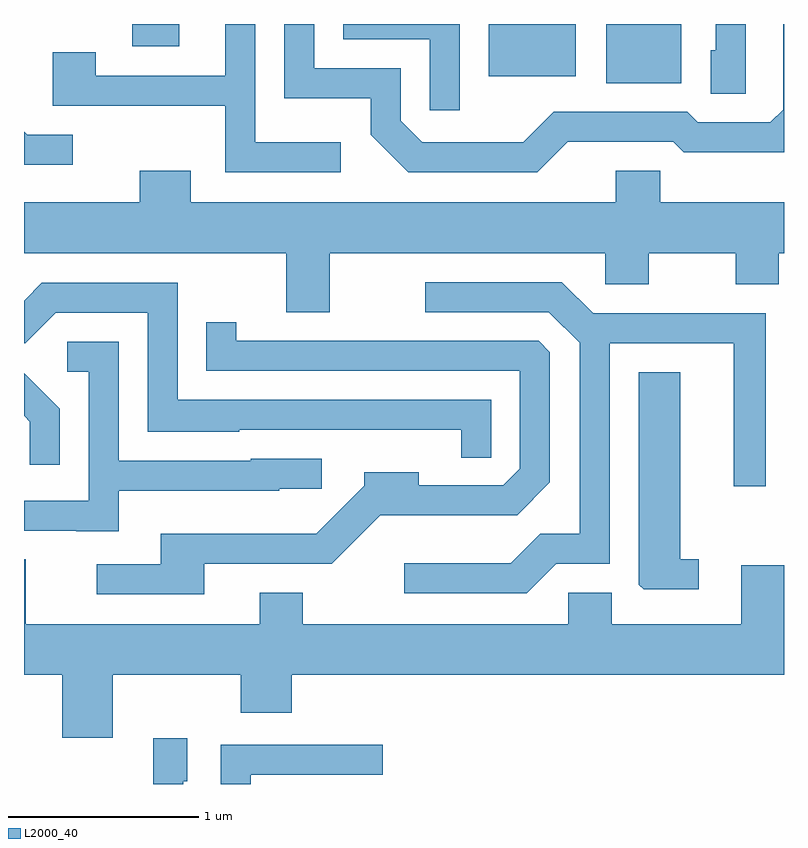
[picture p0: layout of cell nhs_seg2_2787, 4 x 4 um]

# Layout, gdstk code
import gdstk
lib = gdstk.Library(unit=1e-6, precision=1e-09)
def R(c, l, rs):  # rectangles x0, y0, x1, y1
    for r in rs: c.add(gdstk.rectangle(r[:2], r[2:], *l))
def P(c, l, *ps):  # polygons
    for p in ps: c.add(gdstk.Polygon(p, *l))
L2000_40 = (2000, 40)

nhs_seg2_2787 = lib.new_cell('nhs_seg2_2787')
R(nhs_seg2_2787, L2000_40, [(270.676,991.491,271.069,991.802), (270.056,991.526,270.514,991.802), (268.181,991.686,268.429,991.802)])
P(nhs_seg2_2787, L2000_40, [(269.904,991.802),(269.291,991.802),(269.291,991.721),(269.746,991.721),(269.746,991.348),(269.904,991.348)],
  [(270.472,991.181),(271.029,991.181),(271.084,991.126),(271.611,991.126),(271.611,991.802),(271.606,991.802),(271.606,991.352),(271.539,991.284),(271.157,991.284),(271.102,991.339),(270.399,991.339),(270.239,991.179),(269.707,991.179),(269.594,991.292),(269.594,991.569),(269.139,991.569),(269.139,991.802),(268.981,991.802),(268.981,991.411),(269.436,991.411),(269.436,991.219),(269.634,991.021),(270.312,991.021)],
  [(271.409,991.802),(271.251,991.802),(271.251,991.664),(271.226,991.664),(271.226,991.436),(271.409,991.436)],
  [(269.278,991.179),(268.829,991.179),(268.829,991.802),(268.671,991.802),(268.671,991.529),(267.989,991.529),(267.989,991.654),(267.761,991.654),(267.761,991.371),(268.671,991.371),(268.671,991.021),(269.278,991.021)],
  [(267.868,991.219),(267.627,991.219),(267.611,991.235),(267.611,991.061),(267.868,991.061)],
  [(269.219,990.596),(270.671,990.596),(270.671,990.431),(270.899,990.431),(270.899,990.596),(271.356,990.596),(271.356,990.431),(271.584,990.431),(271.584,990.596),(271.611,990.596),(271.611,990.864),(270.959,990.864),(270.959,991.029),(270.726,991.029),(270.726,990.864),(268.489,990.864),(268.489,991.029),(268.221,991.029),(268.221,990.864),(267.611,990.864),(267.611,990.596),(268.991,990.596),(268.991,990.286),(269.219,990.286)],
  [(270.412,988.961),(270.694,988.961),(270.694,990.121),(271.346,990.121),(271.346,989.368),(271.514,989.368),(271.514,990.279),(270.607,990.279),(270.442,990.444),(269.723,990.444),(269.723,990.286),(270.374,990.286),(270.536,990.124),(270.536,989.119),(270.329,989.119),(270.174,988.964),(269.613,988.964),(269.613,988.806),(270.257,988.806)],
  [(270.069,989.824),(268.419,989.824),(268.419,990.439),(267.704,990.439),(267.611,990.346),(267.611,990.121),(267.617,990.121),(267.777,990.281),(268.261,990.281),(268.261,989.656),(268.745,989.656),(268.745,989.666),(269.911,989.666),(269.911,989.518),(270.069,989.518)],
  [(268.559,988.961),(269.232,988.961),(269.487,989.216),(270.207,989.216),(270.379,989.389),(270.379,990.074),(270.319,990.134),(268.729,990.134),(268.729,990.233),(268.571,990.233),(268.571,989.976),(270.221,989.976),(270.221,989.462),(270.134,989.374),(269.689,989.374),(269.689,989.444),(269.401,989.444),(269.401,989.372),(269.149,989.119),(268.331,989.119),(268.331,988.959),(267.993,988.959),(267.993,988.801),(268.559,988.801)],
  [(268.109,989.346),(268.955,989.346),(268.955,989.356),(269.178,989.356),(269.178,989.514),(268.805,989.514),(268.805,989.504),(268.109,989.504),(268.109,990.129),(267.838,990.129),(267.838,989.971),(267.951,989.971),(267.951,989.294),(267.611,989.294),(267.611,989.136),(267.885,989.136),(267.885,989.131),(268.109,989.131)],
  [(271.163,988.984),(271.064,988.984),(271.064,989.969),(270.846,989.969),(270.846,988.852),(270.872,988.826),(271.163,988.826)],
  [(267.799,989.777),(267.611,989.965),(267.611,989.739),(267.641,989.709),(267.641,989.483),(267.799,989.483)],
  [(268.079,988.376),(268.751,988.376),(268.751,988.176),(269.019,988.176),(269.019,988.376),(271.611,988.376),(271.611,988.954),(271.386,988.954),(271.386,988.644),(270.704,988.644),(270.704,988.809),(270.476,988.809),(270.476,988.644),(269.079,988.644),(269.079,988.809),(268.851,988.809),(268.851,988.644),(267.619,988.644),(267.619,988.984),(267.611,988.984),(267.611,988.376),(267.811,988.376),(267.811,988.046),(268.079,988.046)],
  [(268.449,987.816),(268.469,987.816),(268.469,988.044),(268.291,988.044),(268.291,987.802),(268.449,987.802)],
  [(268.804,987.851),(269.498,987.851),(269.498,988.009),(268.646,988.009),(268.646,987.802),(268.804,987.802)])

lib.write_gds('nhs_seg2_2787.gds')
